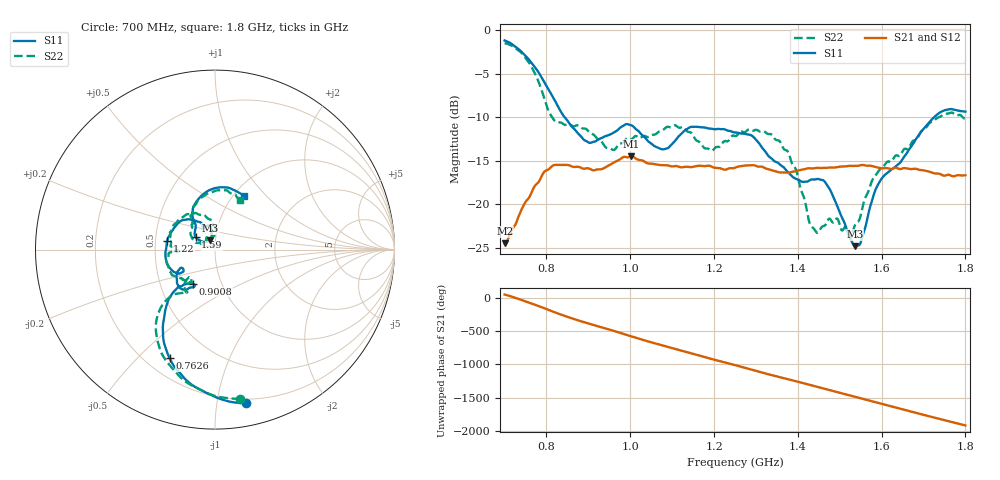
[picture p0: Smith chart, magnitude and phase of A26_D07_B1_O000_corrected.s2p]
! Created with skrf 1.9.0 (http://scikit-rf.org).
# Hz S RI R 50.0
!freq ReS11 ImS11 ReS21 ImS21 ReS12 ImS12 ReS22 ImS22
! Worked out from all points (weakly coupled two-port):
!   1601 points, 700 MHz to 1.8 GHz, reference 50 ohm
!   highest |S21| = -14.50 dB at 1.002 GHz (marker M1); lowest = -24.5 dB at 700.7 MHz (marker M2)
!   lowest |S11| = -24.8 dB at 1.537 GHz (marker M3), VSWR 1.12, Z = 47.3 + j4.9 ohm
!   |S11| at or under -10 dB: 843.5 MHz to 1.725 GHz (881.7 MHz wide, 68.7 % of centre)
!   |S22| runs from -23.8 to -1.5 dB; largest |S21 - S12| = 0.0036
!   S11 on the Smith chart (normalised r, x): 700 MHz: 0.17, -1.21; 762.6 MHz: 0.29, -0.63; 900.8 MHz: 0.73, -0.29; 1.22 GHz: 0.58, +0.06; 1.59 GHz: 0.80, +0.11; 1.8 GHz: 1.12, +0.76
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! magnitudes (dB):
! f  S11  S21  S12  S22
! 700 MHz  -1.2  -24.5  -24.3  -1.5
! 700.7 MHz  -1.2  -24.5  -24.2  -1.5
! 762.6 MHz  -3.7  -18.8  -18.8  -4.1
! 816.9 MHz  -7.8  -15.5  -15.6  -10.2
! 883.6 MHz  -12.3  -15.8  -15.7  -11.2
! 900.8 MHz  -12.9  -15.9  -15.9  -11.6
! 957.8 MHz  -11.8  -15.3  -15.3  -13.7
! 1.002 GHz  -10.9  -14.5  -14.6  -12.5
! 1.067 GHz  -13.5  -15.5  -15.4  -11.7
! 1.144 GHz  -11.1  -15.7  -15.7  -11.7
! 1.22 GHz  -11.4  -15.9  -16.0  -13.0
! 1.25 GHz  -11.7  -15.8  -15.7  -12.1
! 1.357 GHz  -15.4  -16.3  -16.3  -12.7
! 1.395 GHz  -17.0  -16.2  -16.2  -15.9
! 1.434 GHz  -17.1  -15.9  -15.8  -22.6
! 1.471 GHz  -17.9  -15.8  -15.8  -21.9
! 1.537 GHz  -24.8  -15.6  -15.6  -22.4
! 1.551 GHz  -24.2  -15.5  -15.5  -21.0
! 1.59 GHz  -17.9  -15.8  -15.7  -16.4
! 1.617 GHz  -16.2  -15.9  -15.8  -15.1
! 1.733 GHz  -9.6  -16.4  -16.5  -10.1
! 1.8 GHz  -9.4  -16.6  -16.6  -10.1
